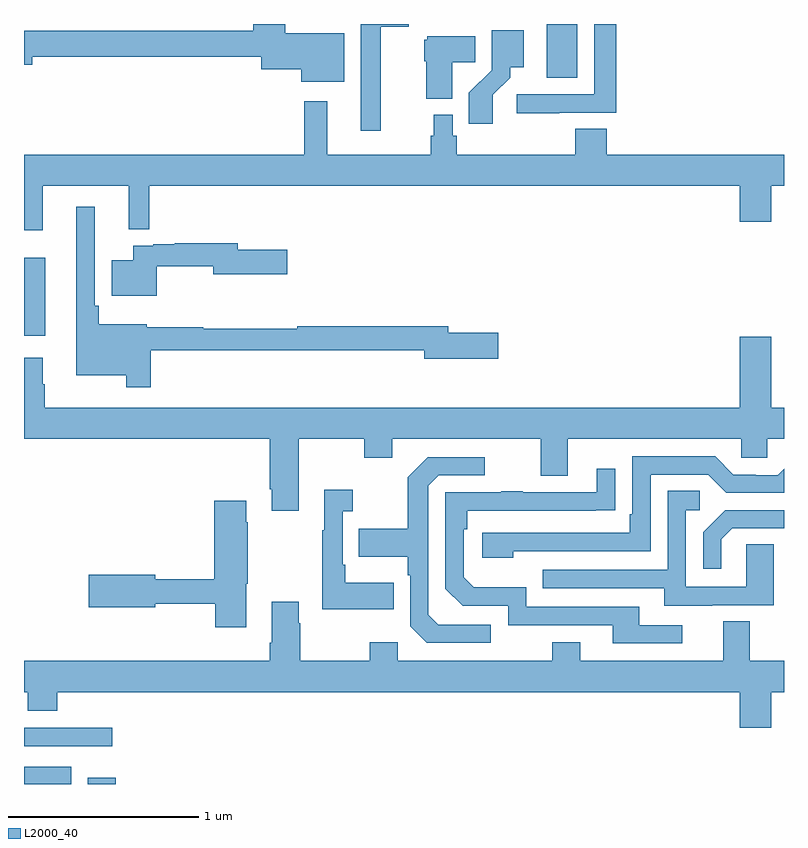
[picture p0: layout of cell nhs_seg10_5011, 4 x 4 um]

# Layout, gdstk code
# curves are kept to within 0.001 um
import gdstk
lib = gdstk.Library(unit=1e-6, precision=1e-09)
def R(c, l, rs):  # rectangles x0, y0, x1, y1
    for r in rs: c.add(gdstk.rectangle(r[:2], r[2:], *l))
def P(c, l, *ps):  # polygons
    for p in ps: c.add(gdstk.Polygon(p, *l))
L2000_40 = (2000, 40)

nhs_seg10_5011 = lib.new_cell('nhs_seg10_5011')
R(nhs_seg10_5011, L2000_40, [(401,1298.5,401.248,1298.59), (401.336,1298.5,401.483,1298.533), (401,1298.7,401.464,1298.796), (401,1300.859,401.113,1301.269), (403.751,1302.216,403.912,1302.5)])
P(nhs_seg10_5011, L2000_40, [(403.817,1302.033),(404.117,1302.033),(404.117,1302.5),(404.001,1302.5),(404.001,1302.129),(403.593,1302.129),(403.593,1302.031),(403.817,1302.031)],
  [(402.685,1302.451),(402.376,1302.451),(402.376,1302.5),(402.206,1302.5),(402.206,1302.464),(401,1302.464),(401,1302.286),(401.044,1302.286),(401.044,1302.328),(402.248,1302.328),(402.248,1302.263),(402.458,1302.263),(402.458,1302.197),(402.685,1302.197)],
  [(402.877,1302.485),(403.024,1302.485),(403.024,1302.5),(402.773,1302.5),(402.773,1301.937),(402.877,1301.937)],
  [(403.468,1302.127),(403.558,1302.217),(403.558,1302.272),(403.63,1302.272),(403.63,1302.466),(403.461,1302.466),(403.461,1302.257),(403.342,1302.138),(403.342,1301.976),(403.468,1301.976)],
  [(403.255,1302.298),(403.376,1302.298),(403.376,1302.436),(403.122,1302.436),(403.122,1302.417),(403.106,1302.417),(403.106,1302.303),(403.118,1302.303),(403.118,1302.107),(403.255,1302.107)],
  [(401.099,1301.648),(401.552,1301.648),(401.552,1301.419),(401.66,1301.419),(401.66,1301.648),(404.768,1301.648),(404.768,1301.46),(404.932,1301.46),(404.932,1301.648),(405,1301.648),(405,1301.812),(404.066,1301.812),(404.066,1301.948),(403.901,1301.948),(403.901,1301.812),(403.277,1301.812),(403.277,1301.913),(403.257,1301.913),(403.257,1302.022),(403.156,1302.022),(403.156,1301.913),(403.141,1301.913),(403.141,1301.812),(402.595,1301.812),(402.595,1302.094),(402.474,1302.094),(402.474,1301.812),(401,1301.812),(401,1301.415),(401.099,1301.415)],
  [(401.666,1300.782),(403.106,1300.782),(403.106,1300.739),(403.495,1300.739),(403.495,1300.874),(403.234,1300.874),(403.234,1300.91),(402.437,1300.91),(402.437,1300.895),(401.943,1300.895),(401.943,1300.903),(401.647,1300.903),(401.647,1300.921),(401.393,1300.921),(401.393,1301.017),(401.373,1301.017),(401.373,1301.539),(401.276,1301.539),(401.276,1300.652),(401.538,1300.652),(401.538,1300.587),(401.666,1300.587)],
  [(401.698,1301.226),(401.996,1301.226),(401.996,1301.183),(402.385,1301.183),(402.385,1301.313),(402.124,1301.313),(402.124,1301.347),(401.794,1301.347),(401.794,1301.34),(401.68,1301.34),(401.68,1301.334),(401.576,1301.334),(401.576,1301.257),(401.462,1301.257),(401.462,1301.069),(401.698,1301.069)],
  [(402.445,1300.316),(402.79,1300.316),(402.79,1300.217),(402.937,1300.217),(402.937,1300.316),(403.721,1300.316),(403.721,1300.122),(403.861,1300.122),(403.861,1300.316),(404.775,1300.316),(404.775,1300.218),(404.913,1300.218),(404.913,1300.316),(405,1300.316),(405,1300.48),(404.932,1300.48),(404.932,1300.855),(404.768,1300.855),(404.768,1300.48),(401.11,1300.48),(401.11,1300.604),(401.098,1300.604),(401.098,1300.744),(401,1300.744),(401,1300.316),(402.293,1300.316),(402.293,1300.051),(402.305,1300.051),(402.305,1299.939),(402.445,1299.939)],
  [(403.574,1299.726),(404.298,1299.726),(404.298,1300.128),(404.601,1300.128),(404.697,1300.032),(405,1300.032),(405,1300.158),(404.967,1300.125),(404.852,1300.125),(404.852,1300.128),(404.733,1300.128),(404.637,1300.224),(404.202,1300.224),(404.202,1299.919),(404.189,1299.919),(404.189,1299.822),(403.413,1299.822),(403.413,1299.692),(403.574,1299.692)],
  [(403.456,1299.339),(403.179,1299.339),(403.128,1299.39),(403.128,1300.071),(403.182,1300.125),(403.426,1300.125),(403.426,1300.221),(403.125,1300.221),(403.02,1300.115),(403.02,1299.843),(402.763,1299.843),(402.763,1299.695),(403.02,1299.695),(403.02,1299.599),(403.032,1299.599),(403.032,1299.33),(403.119,1299.243),(403.456,1299.243)],
  [(404.464,1299.336),(404.239,1299.336),(404.239,1299.432),(403.644,1299.432),(403.644,1299.535),(403.367,1299.535),(403.314,1299.588),(403.314,1299.842),(403.334,1299.842),(403.334,1299.939),(404.111,1299.94),(404.111,1300.159),(404.015,1300.159),(404.015,1300.035),(403.625,1300.035),(403.625,1300.04),(403.513,1300.04),(403.513,1300.035),(403.218,1300.035),(403.218,1299.528),(403.308,1299.438),(403.548,1299.438),(403.548,1299.336),(404.099,1299.336),(404.099,1299.24),(404.464,1299.24)],
  [(402.947,1299.559),(402.691,1299.559),(402.691,1299.655),(402.678,1299.655),(402.678,1299.935),(402.73,1299.935),(402.73,1300.048),(402.581,1300.048),(402.581,1299.835),(402.57,1299.835),(402.57,1299.419),(402.947,1299.419)],
  [(404.623,1299.441),(404.947,1299.441),(404.947,1299.761),(404.802,1299.761),(404.802,1299.537),(404.484,1299.537),(404.484,1299.942),(404.557,1299.942),(404.557,1300.043),(404.388,1300.043),(404.388,1299.627),(403.729,1299.627),(403.729,1299.531),(404.369,1299.531),(404.369,1299.437),(404.623,1299.437)],
  [(402.169,1299.555),(402.177,1299.555),(402.177,1299.878),(402.169,1299.878),(402.169,1299.991),(402.002,1299.991),(402.002,1299.578),(401.692,1299.578),(401.692,1299.602),(401.34,1299.602),(401.34,1299.431),(401.692,1299.431),(401.692,1299.45),(402.007,1299.45),(402.007,1299.324),(402.169,1299.324)],
  [(404.671,1299.789),(404.728,1299.846),(405,1299.846),(405,1299.942),(404.69,1299.942),(404.574,1299.826),(404.574,1299.633),(404.671,1299.633)],
  [(404.932,1298.984),(405,1298.984),(405,1299.148),(404.821,1299.148),(404.821,1299.356),(404.681,1299.356),(404.681,1299.148),(403.927,1299.148),(403.927,1299.247),(403.78,1299.247),(403.78,1299.148),(402.966,1299.148),(402.966,1299.247),(402.82,1299.247),(402.82,1299.148),(402.453,1299.148),(402.453,1299.347),(402.445,1299.347),(402.445,1299.46),(402.305,1299.46),(402.305,1299.244),(402.293,1299.244),(402.293,1299.148),(401,1299.148),(401,1298.984),(401.021,1298.984),(401.021,1298.885),(401.174,1298.885),(401.174,1298.984),(404.768,1298.984),(404.768,1298.796),(404.932,1298.796)])

lib.write_gds('nhs_seg10_5011.gds')
